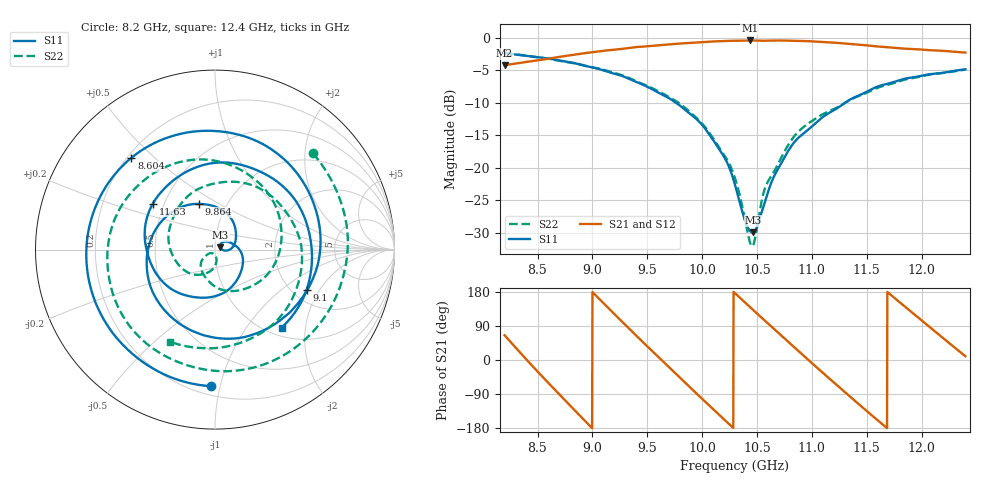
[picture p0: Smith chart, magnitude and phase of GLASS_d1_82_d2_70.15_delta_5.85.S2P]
!Agilent Technologies,E5071C,MY46631589,B.13.30
!Date: Wed Jun 09 03:06:46 2021
!Data & Calibration Information:
!Freq	S11:SOLT2(ON)	S21:SOLT2(ON)	S12:SOLT2(ON)	S22:SOLT2(ON)
!PortZ  Port1:50+j0  Port2:50+j0
!Above PortZ is port z conversion or system Z0 setting when saving the data.
!When reading, reference impedance value at option line is always used.
# Hz S RI R 50
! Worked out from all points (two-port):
!   1601 points, 8.2 GHz to 12.4 GHz, reference 50 ohm
!   highest |S21| = -0.40 dB at 10.43 GHz (marker M1); lowest = -4.2 dB at 8.2 GHz (marker M2)
!   |S21| within 3 dB of the highest: 8.527 GHz to end of sweep
!   lowest |S11| = -30.0 dB at 10.46 GHz (marker M3), VSWR 1.07, Z = 53 + j1.34 ohm
!   |S11| at or under -10 dB: 9.763 GHz to 11.3 GHz (1.54 GHz wide, 14.6 % of centre)
!   |S22| runs from -32.1 to -2.3 dB; largest |S21 - S12| = 0.0098
!   S11 on the Smith chart (normalised r, x): 8.2 GHz: 0.26, -0.94; 8.604 GHz: 0.22, +0.42; 9.1 GHz: 2.39, -1.57; 9.864 GHz: 0.74, +0.41; 11.63 GHz: 0.43, +0.27; 12.4 GHz: 1.15, -1.49
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8.2e9  -0.0238 -0.7613  0.2567 0.5587  0.2551 0.5591  0.546 0.5357
8.41e9  -0.695 -0.2042  0.6551 -0.0242  0.6544 -0.0229  0.6881 -0.2304
8.60425e9  -0.4657 0.5115  0.3233 -0.6111  0.3248 -0.6098  0.1842 -0.6643
8.748625e9  0.0427 0.6569  -0.1989 -0.6956  -0.1953 -0.6961  -0.2839 -0.5894
8.900875e9  0.4867 0.3834  -0.6621 -0.3644  -0.6587 -0.3678  -0.5708 -0.2404
9.100375e9  0.5143 -0.2253  -0.6896 0.3941  -0.6902 0.39  -0.4858 0.2945
9.347125e9  -0.0773 -0.4725  0.1536 0.8249  0.149 0.8229  0.0491 0.4832
9.60175e9  -0.3782 -0.0277  0.8697 0.1154  0.8675 0.1209  0.3688 0.1201
9.86425e9  -0.0916 0.2546  0.3824 -0.827  0.3893 -0.822  0.1819 -0.2135
1.006112e10  0.1018 0.1522  -0.4523 -0.8173  -0.4444 -0.8203  -0.0245 -0.1869
1.03e10  0.0739 -0.00369  -0.9486 0.0608  -0.9477 0.0533  -0.0662 -0.0503
1.043388e10  0.0321 0.00732  -0.7358 0.6081  -0.7397 0.6012  -0.0185 -0.0196
1.046275e10  0.0292 0.0126  -0.647 0.7014  -0.6521 0.695  -0.0095 -0.0234
1.070425e10  0.0965 0.0331  0.3393 0.8919  0.3299 0.8935  -0.0147 -0.1105
1.086175e10  0.1556 -0.0541  0.8374 0.4445  0.8315 0.4511  -0.1214 -0.1383
1.100088e10  0.1242 -0.1664  0.9295 -0.1338  0.9296 -0.1247  -0.2212 -0.0593
1.116888e10  -0.0313 -0.2663  0.5767 -0.7184  0.5828 -0.7121  -0.2564 0.1009
1.1308e10  -0.2131 -0.2363  0.0539 -0.9012  0.0622 -0.9004  -0.1906 0.2542
1.16335e10  -0.346 0.2565  -0.8322 -0.1913  -0.8294 -0.1989  0.2484 0.3414
1.170175e10  -0.2606 0.3611  -0.845 0.0542  -0.8438 0.0456  0.3408 0.2737
1.2043e10  0.3991 0.3328  -0.0628 0.8039  -0.0706 0.8024  0.4073 -0.3158
1.24e10  0.3717 -0.4346  0.7588 0.133  0.756 0.1412  -0.2519 -0.5121
